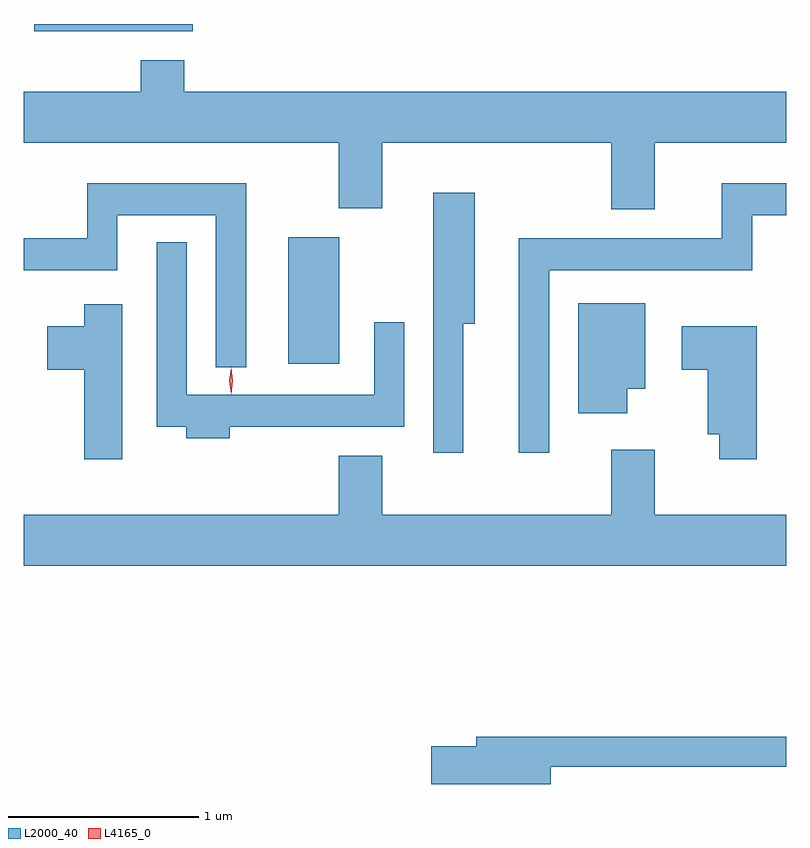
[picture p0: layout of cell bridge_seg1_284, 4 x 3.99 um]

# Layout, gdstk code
import gdstk
lib = gdstk.Library(unit=1e-6, precision=1e-09)
def R(c, l, rs):  # rectangles x0, y0, x1, y1
    for r in rs: c.add(gdstk.rectangle(r[:2], r[2:], *l))
def P(c, l, *ps):  # polygons
    for p in ps: c.add(gdstk.Polygon(p, *l))
L2000_40 = (2000, 40)
L4165_0 = (4165, 0)

bridge_seg1_284 = lib.new_cell('bridge_seg1_284')
R(bridge_seg1_284, L2000_40, [(841.666,896.196,841.934,896.859), (840.333,897.941,841.164,897.979)])
P(bridge_seg1_284, L2000_40, [(843.589,897.356),(844.278,897.356),(844.278,897.624),(841.119,897.624),(841.119,897.789),(840.891,897.789),(840.891,897.624),(840.278,897.624),(840.278,897.356),(841.931,897.356),(841.931,897.011),(842.159,897.011),(842.159,897.356),(843.361,897.356),(843.361,897.006),(843.589,897.006)],
  [(841.444,897.144),(840.611,897.144),(840.611,896.854),(840.278,896.854),(840.278,896.686),(840.769,896.686),(840.769,896.976),(841.286,896.976),(841.286,896.178),(841.444,896.178)],
  [(843.034,896.686),(844.099,896.686),(844.099,896.976),(844.278,896.976),(844.278,897.144),(843.941,897.144),(843.941,896.854),(842.876,896.854),(842.876,895.728),(843.034,895.728)],
  [(842.584,896.406),(842.644,896.406),(842.644,897.094),(842.426,897.094),(842.426,895.728),(842.584,895.728)],
  [(841.359,895.866),(842.274,895.866),(842.274,896.413),(842.116,896.413),(842.116,896.034),(841.134,896.034),(841.134,896.833),(840.976,896.833),(840.976,895.866),(841.131,895.866),(841.131,895.806),(841.359,895.806)],
  [(843.444,896.066),(843.539,896.066),(843.539,896.514),(843.186,896.514),(843.186,895.936),(843.444,895.936)],
  [(840.794,896.509),(840.596,896.509),(840.596,896.394),(840.401,896.394),(840.401,896.166),(840.596,896.166),(840.596,895.696),(840.794,895.696)],
  [(844.124,896.394),(843.731,896.394),(843.731,896.166),(843.866,896.166),(843.866,895.826),(843.926,895.826),(843.926,895.696),(844.124,895.696)],
  [(844.278,895.404),(843.589,895.404),(843.589,895.744),(843.361,895.744),(843.361,895.404),(842.159,895.404),(842.159,895.714),(841.931,895.714),(841.931,895.404),(840.278,895.404),(840.278,895.136),(844.278,895.136)],
  [(843.044,894.081),(844.278,894.081),(844.278,894.239),(842.651,894.239),(842.651,894.189),(842.416,894.189),(842.416,893.991),(843.044,893.991)])
P(bridge_seg1_284, L4165_0, [(841.365,896.037),(841.365,896.037),(841.355,896.107),(841.365,896.176),(841.365,896.176),(841.366,896.176),(841.375,896.107),(841.366,896.037)],
  [(841.365,896.039),(841.365,896.04),(841.355,896.106),(841.365,896.172),(841.365,896.173),(841.366,896.172),(841.375,896.106),(841.366,896.04)])

lib.write_gds('bridge_seg1_284.gds')
